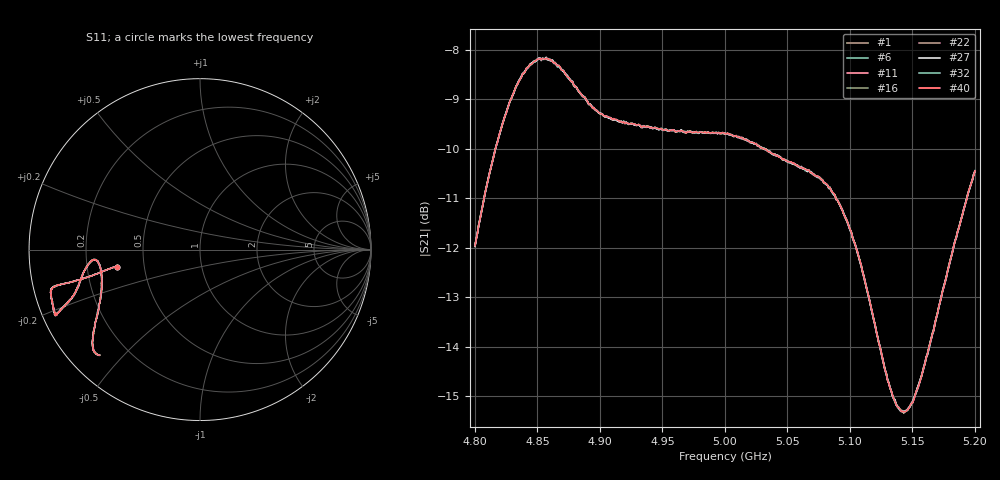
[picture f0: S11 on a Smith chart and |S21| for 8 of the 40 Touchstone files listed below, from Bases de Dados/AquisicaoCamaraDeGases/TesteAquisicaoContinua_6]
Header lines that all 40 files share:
! Network Analyzer HP8722D
! Hewlett-Packard
! Data name: Linha & Wilkinson
! Saver's name: Rodrigo Anjos
! Comments: Teste da utilização de aquisição
! continua pelo VNA HP8722D
!  Frequency  S11  S21  S12  S22
# HZ  S  MA R 50
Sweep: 4.8 GHz to 5.2 GHz
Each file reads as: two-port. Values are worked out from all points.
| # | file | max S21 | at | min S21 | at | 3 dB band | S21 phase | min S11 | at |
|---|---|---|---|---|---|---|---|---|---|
| 1 | teste_arseco&H20_100-50_240.S2P | -8.17 dB | 4.851 GHz | -15.3 dB | 5.143 GHz | 4.806 GHz-5.092 GHz | -62 deg at 5 GHz | -6.1 dB | 4.8 GHz |
| 2 | teste_arseco&H20_100-50_241.S2P | -8.17 dB | 4.851 GHz | -15.3 dB | 5.144 GHz | 4.806 GHz-5.092 GHz | -62 deg at 5 GHz | -6.1 dB | 4.8 GHz |
| 3 | teste_arseco&H20_100-50_242.S2P | -8.18 dB | 4.852 GHz | -15.3 dB | 5.142 GHz | 4.806 GHz-5.092 GHz | -62 deg at 5 GHz | -6.1 dB | 4.8 GHz |
| 4 | teste_arseco&H20_100-50_243.S2P | -8.17 dB | 4.857 GHz | -15.3 dB | 5.143 GHz | 4.806 GHz-5.092 GHz | -62 deg at 5 GHz | -6.1 dB | 4.8 GHz |
| 5 | teste_arseco&H20_100-50_244.S2P | -8.17 dB | 4.851 GHz | -15.3 dB | 5.143 GHz | 4.806 GHz-5.092 GHz | -62 deg at 5 GHz | -6.1 dB | 4.8 GHz |
| 6 | teste_arseco&H20_100-50_245.S2P | -8.16 dB | 4.854 GHz | -15.3 dB | 5.143 GHz | 4.807 GHz-5.092 GHz | -62 deg at 5 GHz | -6.1 dB | 4.8 GHz |
| 7 | teste_arseco&H20_100-50_246.S2P | -8.17 dB | 4.857 GHz | -15.3 dB | 5.143 GHz | 4.806 GHz-5.092 GHz | -62 deg at 5 GHz | -6.1 dB | 4.8 GHz |
| 8 | teste_arseco&H20_100-50_247.S2P | -8.17 dB | 4.851 GHz | -15.3 dB | 5.141 GHz | 4.806 GHz-5.092 GHz | -62 deg at 5 GHz | -6.1 dB | 4.8 GHz |
| 9 | teste_arseco&H20_100-50_248.S2P | -8.17 dB | 4.857 GHz | -15.3 dB | 5.145 GHz | 4.806 GHz-5.092 GHz | -62 deg at 5 GHz | -6.1 dB | 4.8 GHz |
| 10 | teste_arseco&H20_100-50_249.S2P | -8.16 dB | 4.852 GHz | -15.3 dB | 5.143 GHz | 4.807 GHz-5.092 GHz | -62 deg at 5 GHz | -6.1 dB | 4.8 GHz |
| 11 | teste_arseco&H20_100-50_250.S2P | -8.17 dB | 4.852 GHz | -15.3 dB | 5.144 GHz | 4.806 GHz-5.092 GHz | -62 deg at 5 GHz | -6.1 dB | 4.8 GHz |
| 12 | teste_arseco&H20_100-50_251.S2P | -8.17 dB | 4.857 GHz | -15.3 dB | 5.144 GHz | 4.806 GHz-5.092 GHz | -62 deg at 5 GHz | -6.1 dB | 4.8 GHz |
| 13 | teste_arseco&H20_100-50_252.S2P | -8.16 dB | 4.857 GHz | -15.3 dB | 5.144 GHz | 4.806 GHz-5.092 GHz | -62 deg at 5 GHz | -6.1 dB | 4.8 GHz |
| 14 | teste_arseco&H20_100-50_253.S2P | -8.16 dB | 4.852 GHz | -15.3 dB | 5.143 GHz | 4.807 GHz-5.092 GHz | -62 deg at 5 GHz | -6.1 dB | 4.8 GHz |
| 15 | teste_arseco&H20_100-50_254.S2P | -8.17 dB | 4.854 GHz | -15.3 dB | 5.143 GHz | 4.806 GHz-5.092 GHz | -62 deg at 5 GHz | -6.1 dB | 4.8 GHz |
| 16 | teste_arseco&H20_100-50_255.S2P | -8.17 dB | 4.852 GHz | -15.3 dB | 5.143 GHz | 4.807 GHz-5.092 GHz | -62 deg at 5 GHz | -6.1 dB | 4.8 GHz |
| 17 | teste_arseco&H20_100-50_256.S2P | -8.17 dB | 4.857 GHz | -15.3 dB | 5.143 GHz | 4.806 GHz-5.092 GHz | -62 deg at 5 GHz | -6.1 dB | 4.8 GHz |
| 18 | teste_arseco&H20_100-50_257.S2P | -8.16 dB | 4.857 GHz | -15.3 dB | 5.141 GHz | 4.807 GHz-5.092 GHz | -62 deg at 5 GHz | -6.1 dB | 4.8 GHz |
| 19 | teste_arseco&H20_100-50_258.S2P | -8.16 dB | 4.851 GHz | -15.3 dB | 5.143 GHz | 4.806 GHz-5.092 GHz | -62 deg at 5 GHz | -6.1 dB | 4.8 GHz |
| 20 | teste_arseco&H20_100-50_259.S2P | -8.15 dB | 4.857 GHz | -15.3 dB | 5.143 GHz | 4.807 GHz-5.092 GHz | -62 deg at 5 GHz | -6.1 dB | 4.8 GHz |
| 21 | teste_arseco&H20_100-50_260.S2P | -8.17 dB | 4.857 GHz | -15.4 dB | 5.143 GHz | 4.806 GHz-5.092 GHz | -62 deg at 5 GHz | -6.1 dB | 4.8 GHz |
| 22 | teste_arseco&H20_100-50_261.S2P | -8.17 dB | 4.852 GHz | -15.3 dB | 5.143 GHz | 4.806 GHz-5.092 GHz | -62 deg at 5 GHz | -6.1 dB | 4.8 GHz |
| 23 | teste_arseco&H20_100-50_262.S2P | -8.17 dB | 4.857 GHz | -15.3 dB | 5.143 GHz | 4.806 GHz-5.092 GHz | -62 deg at 5 GHz | -6.1 dB | 4.8 GHz |
| 24 | teste_arseco&H20_100-50_263.S2P | -8.17 dB | 4.856 GHz | -15.3 dB | 5.143 GHz | 4.807 GHz-5.092 GHz | -62 deg at 5 GHz | -6.1 dB | 4.8 GHz |
| 25 | teste_arseco&H20_100-50_264.S2P | -8.15 dB | 4.851 GHz | -15.3 dB | 5.141 GHz | 4.807 GHz-5.092 GHz | -62 deg at 5 GHz | -6.1 dB | 4.8 GHz |
| 26 | teste_arseco&H20_100-50_265.S2P | -8.16 dB | 4.854 GHz | -15.3 dB | 5.144 GHz | 4.807 GHz-5.092 GHz | -62 deg at 5 GHz | -6.1 dB | 4.8 GHz |
| 27 | teste_arseco&H20_100-50_266.S2P | -8.15 dB | 4.857 GHz | -15.3 dB | 5.143 GHz | 4.807 GHz-5.091 GHz | -62 deg at 5 GHz | -6.1 dB | 4.8 GHz |
| 28 | teste_arseco&H20_100-50_267.S2P | -8.17 dB | 4.852 GHz | -15.3 dB | 5.143 GHz | 4.807 GHz-5.092 GHz | -62 deg at 5 GHz | -6.1 dB | 4.8 GHz |
| 29 | teste_arseco&H20_100-50_268.S2P | -8.17 dB | 4.854 GHz | -15.3 dB | 5.143 GHz | 4.807 GHz-5.092 GHz | -62 deg at 5 GHz | -6.1 dB | 4.8 GHz |
| 30 | teste_arseco&H20_100-50_269.S2P | -8.16 dB | 4.851 GHz | -15.3 dB | 5.142 GHz | 4.806 GHz-5.092 GHz | -62 deg at 5 GHz | -6.1 dB | 4.8 GHz |
| 31 | teste_arseco&H20_100-50_270.S2P | -8.17 dB | 4.851 GHz | -15.3 dB | 5.143 GHz | 4.807 GHz-5.092 GHz | -62 deg at 5 GHz | -6.1 dB | 4.8 GHz |
| 32 | teste_arseco&H20_100-50_271.S2P | -8.16 dB | 4.852 GHz | -15.3 dB | 5.143 GHz | 4.806 GHz-5.092 GHz | -62 deg at 5 GHz | -6.1 dB | 4.8 GHz |
| 33 | teste_arseco&H20_100-50_272.S2P | -8.17 dB | 4.854 GHz | -15.3 dB | 5.143 GHz | 4.806 GHz-5.092 GHz | -62 deg at 5 GHz | -6.1 dB | 4.8 GHz |
| 34 | teste_arseco&H20_100-50_273.S2P | -8.16 dB | 4.851 GHz | -15.3 dB | 5.141 GHz | 4.807 GHz-5.092 GHz | -62 deg at 5 GHz | -6.1 dB | 4.8 GHz |
| 35 | teste_arseco&H20_100-50_274.S2P | -8.16 dB | 4.852 GHz | -15.3 dB | 5.142 GHz | 4.807 GHz-5.092 GHz | -62 deg at 5 GHz | -6.1 dB | 4.8 GHz |
| 36 | teste_arseco&H20_100-50_275.S2P | -8.17 dB | 4.856 GHz | -15.3 dB | 5.143 GHz | 4.806 GHz-5.092 GHz | -62 deg at 5 GHz | -6.1 dB | 4.8 GHz |
| 37 | teste_arseco&H20_100-50_276.S2P | -8.16 dB | 4.851 GHz | -15.3 dB | 5.144 GHz | 4.806 GHz-5.092 GHz | -62 deg at 5 GHz | -6.1 dB | 4.8 GHz |
| 38 | teste_arseco&H20_100-50_277.S2P | -8.17 dB | 4.854 GHz | -15.3 dB | 5.143 GHz | 4.806 GHz-5.092 GHz | -62 deg at 5 GHz | -6.1 dB | 4.8 GHz |
| 39 | teste_arseco&H20_100-50_278.S2P | -8.17 dB | 4.857 GHz | -15.3 dB | 5.143 GHz | 4.806 GHz-5.092 GHz | -62 deg at 5 GHz | -6.1 dB | 4.8 GHz |
| 40 | teste_arseco&H20_100-50_279.S2P | -8.16 dB | 4.857 GHz | -15.3 dB | 5.143 GHz | 4.807 GHz-5.092 GHz | -62 deg at 5 GHz | -6.1 dB | 4.8 GHz |
